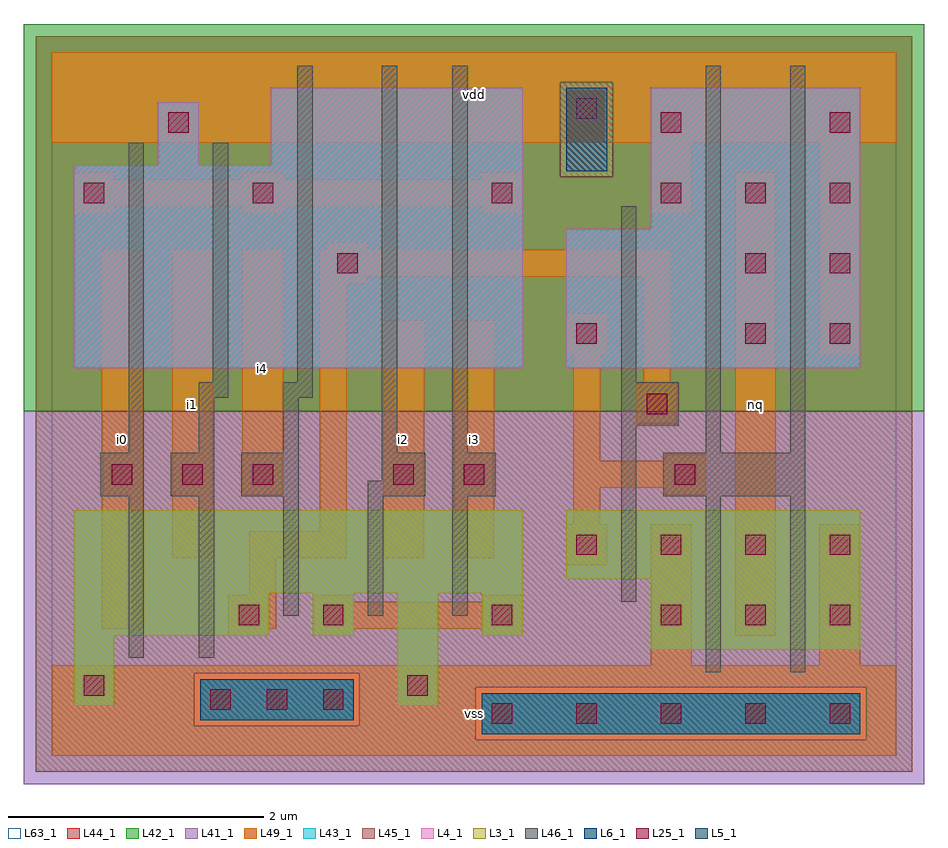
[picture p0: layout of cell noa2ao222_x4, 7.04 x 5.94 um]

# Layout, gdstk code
import gdstk
lib = gdstk.Library(unit=1e-6, precision=1e-09)
def R(c, l, rs):  # rectangles x0, y0, x1, y1
    for r in rs: c.add(gdstk.rectangle(r[:2], r[2:], *l))
def A(c, l, x, y, w, h, nx, ny, dx, dy):  # array of equal rectangles
    R(c, l, [(x+i*dx, y+j*dy, x+i*dx+w, y+j*dy+h) for i in range(nx) for j in range(ny)])
L3_1 = (3, 1)
L4_1 = (4, 1)
L5_1 = (5, 1)
L6_1 = (6, 1)
L25_1 = (25, 1)
L41_1 = (41, 1)
L42_1 = (42, 1)
L43_1 = (43, 1)
L44_1 = (44, 1)
L45_1 = (45, 1)
L46_1 = (46, 1)
L49_1 = (49, 1)
L63_1 = (63, 1)

noa2ao222_x4 = lib.new_cell('noa2ao222_x4')
R(noa2ao222_x4, L3_1, [(0.17,0.39,0.49,0.94), (2.7,0.39,3.02,1.27), (4.68,0.83,6.32,1.38), (0.17,0.94,1.7,1.27), (2.04,0.94,2.36,1.27), (3.36,0.94,3.68,1.27), (0.17,1.27,3.68,1.92), (4.02,1.38,6.32,1.92)])
R(noa2ao222_x4, L4_1, [(0.17,3.03,3.68,4.615), (4.02,3.03,6.32,4.12), (4.68,4.12,6.32,5.22), (0.83,4.615,1.15,5.11), (1.71,4.615,3.68,5.22)])
R(noa2ao222_x4, L5_1, [(4.02,4.57,4.34,5.22)])
R(noa2ao222_x4, L6_1, [(3.36,0.17,6.32,0.49), (1.16,0.28,2.36,0.6)])
A(noa2ao222_x4, L25_1, 3.44, 0.25, 0.16, 0.16, 5, 1, 0.66, 0)
A(noa2ao222_x4, L25_1, 1.24, 0.36, 0.16, 0.16, 3, 1, 0.44, 0)
A(noa2ao222_x4, L25_1, 2.12, 1.02, 0.16, 0.16, 3, 1, 1.32, 0)
A(noa2ao222_x4, L25_1, 4.1, 1.57, 0.16, 0.16, 4, 1, 0.66, 0)
A(noa2ao222_x4, L25_1, 0.47, 2.12, 0.16, 0.16, 3, 1, 0.55, 0)
A(noa2ao222_x4, L25_1, 4.76, 4.32, 0.16, 0.16, 3, 1, 0.66, 0)
R(noa2ao222_x4, L25_1, [(0.25,0.47,0.41,0.63), (2.78,0.47,2.94,0.63), (1.46,1.02,1.62,1.18), (5.42,1.02,5.58,1.18), (6.08,1.02,6.24,1.18), (2.67,2.12,2.83,2.28), (3.22,2.12,3.38,2.28), (4.87,2.12,5.03,2.28), (4.65,2.67,4.81,2.83), (4.1,3.22,4.26,3.38), (5.42,3.22,5.58,3.38), (6.08,3.22,6.24,3.38), (2.23,3.77,2.39,3.93), (5.42,3.77,5.58,3.93), (6.08,3.77,6.24,3.93), (0.25,4.32,0.41,4.48), (1.57,4.32,1.73,4.48), (3.44,4.32,3.6,4.48), (0.91,4.87,1.07,5.03), (4.76,4.87,4.92,5.03), (6.08,4.87,6.24,5.03), (4.1,4.98,4.26,5.14)])
R(noa2ao222_x4, L41_1, [(-0.22,-0.22,6.82,2.695)])
R(noa2ao222_x4, L42_1, [(-0.22,2.695,6.82,5.72)])
R(noa2ao222_x4, L43_1, [(3.36,0.17,6.32,0.49), (1.16,0.28,2.36,0.6), (0.17,0.39,0.49,0.94), (2.7,0.39,3.02,1.27), (4.68,0.83,6.32,1.38), (0.17,0.94,1.7,1.27), (2.04,0.94,2.36,1.27), (3.36,0.94,3.68,1.27), (0.17,1.27,3.68,1.92), (4.02,1.38,6.32,1.92), (0.17,3.03,3.68,4.615), (4.02,3.03,6.32,4.12), (4.68,4.12,6.32,5.22), (4.02,4.57,4.34,5.22), (0.83,4.615,1.15,5.11), (1.71,4.615,3.68,5.22)])
R(noa2ao222_x4, L44_1, [(3.315,0.125,6.365,0.535), (1.115,0.235,2.405,0.645), (-0.125,2.695,6.725,4.525), (-0.125,4.525,3.975,5.265), (4.385,4.525,6.725,5.265), (-0.125,5.265,6.725,5.625)])
R(noa2ao222_x4, L45_1, [(-0.125,-0.125,6.725,0.125), (-0.125,0.125,3.315,0.235), (6.365,0.125,6.725,0.535), (-0.125,0.235,1.115,0.645), (2.405,0.235,3.315,0.535), (2.405,0.535,6.725,0.645), (-0.125,0.645,6.725,2.695), (3.975,4.525,4.385,5.265)])
A(noa2ao222_x4, L46_1, 1.81, 1.095, 0.12, 0.935, 3, 1, 0.66, 0)
R(noa2ao222_x4, L46_1, [(5.11,0.655,5.23,2.03), (5.77,0.655,5.89,2.03), (0.6,0.765,0.72,2.03), (1.15,0.765,1.27,2.03), (4.45,1.205,4.57,2.58), (0.38,2.03,0.72,2.37), (0.93,2.03,1.27,2.37), (1.48,2.03,1.93,2.37), (2.47,2.03,2.92,2.15), (3.13,2.03,3.47,2.37), (4.78,2.03,5.89,2.37), (2.58,2.15,2.92,2.37), (0.6,2.37,0.72,4.79), (1.15,2.37,1.27,2.8), (1.81,2.37,1.93,2.8), (2.58,2.37,2.7,5.395), (3.13,2.37,3.25,5.395), (5.11,2.37,5.23,5.395), (5.77,2.37,5.89,5.395), (4.45,2.58,4.9,2.92), (1.15,2.8,1.38,2.92), (1.81,2.8,2.04,2.92), (1.26,2.92,1.38,4.79), (1.92,2.92,2.04,5.395), (4.45,2.92,4.57,4.295)])
R(noa2ao222_x4, L49_1, [(0,0,6.6,0.71), (4.68,0.71,5,1.81), (6,0.71,6.32,1.81), (1.38,0.94,1.7,0.995), (2.04,0.94,2.36,0.995), (3.36,0.94,3.68,0.995), (5.34,0.94,5.66,4.56), (0.39,0.995,0.71,3.955), (1.38,0.995,1.755,1.26), (2.04,0.995,3.68,1.205), (2.04,1.205,2.36,1.26), (3.36,1.205,3.68,1.26), (1.545,1.26,1.755,1.545), (4.02,1.49,4.34,1.81), (0.94,1.545,1.26,3.955), (1.545,1.545,2.305,1.755), (2.59,1.545,2.91,3.405), (3.14,1.545,3.46,3.405), (2.095,1.755,2.305,3.69), (4.075,1.81,4.285,2.095), (1.49,2.04,1.81,3.955), (4.79,2.04,5.11,2.095), (4.075,2.095,5.11,2.305), (4.075,2.305,4.285,3.14), (4.79,2.305,5.11,2.36), (4.57,2.59,4.89,2.91), (4.625,2.91,4.835,3.745), (4.02,3.14,4.34,3.46), (6,3.14,6.32,4.79), (2.095,3.69,2.47,3.745), (2.095,3.745,4.835,3.955), (2.15,3.955,2.47,4.01), (0.17,4.24,0.49,4.295), (1.49,4.24,1.81,4.295), (3.36,4.24,3.68,4.295), (4.68,4.24,5,4.79), (0.17,4.295,3.68,4.505), (0.17,4.505,0.49,4.56), (1.49,4.505,1.81,4.56), (3.36,4.505,3.68,4.56), (0,4.79,6.6,5.5)])
R(noa2ao222_x4, L63_1, [(0,0,6.6,5.5)])
noa2ao222_x4.add(gdstk.Label('i0', (0.55,2.475), layer=49, texttype=1))
noa2ao222_x4.add(gdstk.Label('i1', (1.1,2.75), layer=49, texttype=1))
noa2ao222_x4.add(gdstk.Label('i1', (1.1,2.75), layer=49, texttype=1))
noa2ao222_x4.add(gdstk.Label('i0', (0.55,2.475), layer=49, texttype=1))
noa2ao222_x4.add(gdstk.Label('i4', (1.65,3.025), layer=49, texttype=1))
noa2ao222_x4.add(gdstk.Label('i4', (1.65,3.025), layer=49, texttype=1))
noa2ao222_x4.add(gdstk.Label('vss', (3.3,0.33), layer=49, texttype=1))
noa2ao222_x4.add(gdstk.Label('vss', (3.3,0.33), layer=49, texttype=1))
noa2ao222_x4.add(gdstk.Label('i2', (2.75,2.475), layer=49, texttype=1))
noa2ao222_x4.add(gdstk.Label('i2', (2.75,2.475), layer=49, texttype=1))
noa2ao222_x4.add(gdstk.Label('i3', (3.3,2.475), layer=49, texttype=1))
noa2ao222_x4.add(gdstk.Label('i3', (3.3,2.475), layer=49, texttype=1))
noa2ao222_x4.add(gdstk.Label('vdd', (3.3,5.17), layer=49, texttype=1))
noa2ao222_x4.add(gdstk.Label('vdd', (3.3,5.17), layer=49, texttype=1))
noa2ao222_x4.add(gdstk.Label('nq', (5.5,2.75), layer=49, texttype=1))
noa2ao222_x4.add(gdstk.Label('nq', (5.5,2.75), layer=49, texttype=1))

lib.write_gds('noa2ao222_x4.gds')
